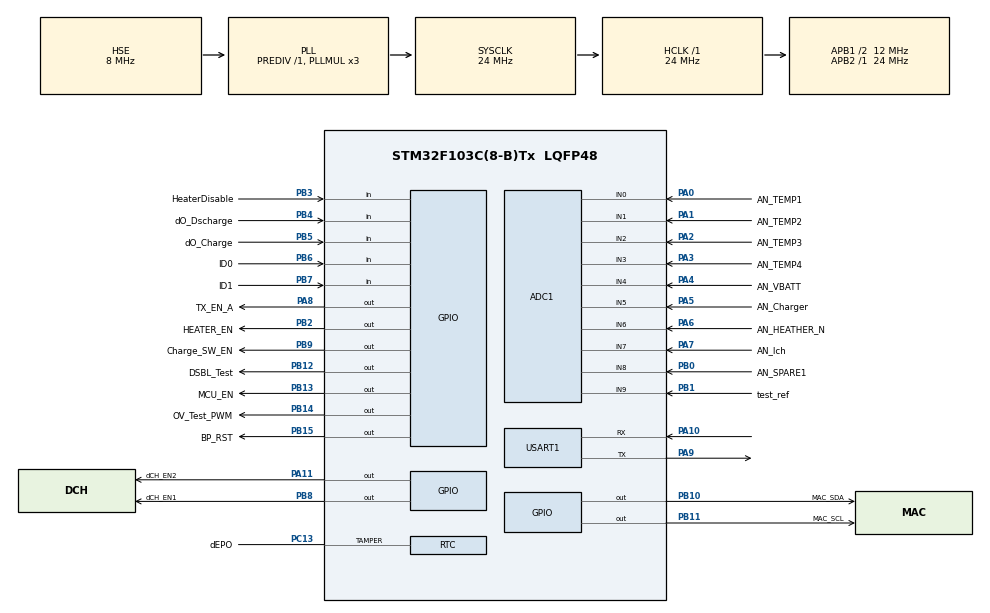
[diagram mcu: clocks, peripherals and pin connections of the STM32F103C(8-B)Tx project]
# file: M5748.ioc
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ADC1.Channel-0\#ChannelRegularConversion=ADC_CHANNEL_0
ADC1.NbrOfConversionFlag=1
ADC1.Rank-0\#ChannelRegularConversion=1
ADC1.SamplingTime-0\#ChannelRegularConversion=ADC_SAMPLETIME_1CYCLE_5
ADC1.master=1
Dma.Request0=USART1_RX
Dma.Request1=USART1_TX
Dma.USART1_RX.0.Direction=DMA_PERIPH_TO_MEMORY
Dma.USART1_RX.0.Instance=DMA1_Channel5
Dma.USART1_RX.0.MemDataAlignment=DMA_MDATAALIGN_BYTE
Dma.USART1_RX.0.MemInc=DMA_MINC_ENABLE
Dma.USART1_RX.0.Mode=DMA_CIRCULAR
Dma.USART1_RX.0.PeriphDataAlignment=DMA_PDATAALIGN_BYTE
Dma.USART1_RX.0.PeriphInc=DMA_PINC_DISABLE
Dma.USART1_RX.0.Priority=DMA_PRIORITY_LOW
Dma.USART1_TX.1.Direction=DMA_MEMORY_TO_PERIPH
Dma.USART1_TX.1.Instance=DMA1_Channel4
Dma.USART1_TX.1.MemDataAlignment=DMA_MDATAALIGN_BYTE
Dma.USART1_TX.1.MemInc=DMA_MINC_ENABLE
Dma.USART1_TX.1.Mode=DMA_NORMAL
Dma.USART1_TX.1.PeriphDataAlignment=DMA_PDATAALIGN_BYTE
Dma.USART1_TX.1.PeriphInc=DMA_PINC_DISABLE
Dma.USART1_TX.1.Priority=DMA_PRIORITY_LOW
Mcu.Family=STM32F1
Mcu.Name=STM32F103C(8-B)Tx
Mcu.Package=LQFP48
NVIC.DMA1_Channel4_IRQn=true\:0\:0\:false\:false\:true\:false\:true\:true
NVIC.DMA1_Channel5_IRQn=true\:0\:0\:false\:false\:true\:false\:true\:true
NVIC.PriorityGroup=NVIC_PRIORITYGROUP_4
NVIC.USART1_IRQn=true\:0\:0\:false\:false\:true\:false\:true\:true
PA0-WKUP.GPIO_Label=AN_TEMP1
PA0-WKUP.Signal=ADCx_IN0
PA1.GPIO_Label=AN_TEMP2
PA1.Signal=ADCx_IN1
PA10.Mode=Asynchronous
PA10.Signal=USART1_RX
PA11.GPIO_Label=dCH_EN2
PA11.GPIO_PuPd=GPIO_PULLUP
PA11.Signal=GPIO_Output
PA13.Mode=Serial_Wire
PA13.Signal=SYS_JTMS-SWDIO
PA14.Mode=Serial_Wire
PA14.Signal=SYS_JTCK-SWCLK
PA2.GPIO_Label=AN_TEMP3
PA2.Signal=ADCx_IN2
PA3.GPIO_Label=AN_TEMP4
PA3.Signal=ADCx_IN3
PA4.GPIO_Label=AN_VBATT
PA4.Signal=ADCx_IN4
PA5.GPIO_Label=AN_Charger
PA5.Signal=ADCx_IN5
PA6.GPIO_Label=AN_HEATHER_N
PA6.Signal=ADCx_IN6
PA7.GPIO_Label=AN_Ich
PA7.Signal=ADCx_IN7
PA8.GPIO_Label=TX_EN_A
PA8.Signal=GPIO_Output
PA9.Mode=Asynchronous
PA9.Signal=USART1_TX
PB0.GPIO_Label=AN_SPARE1
PB0.Signal=ADCx_IN8
PB1.GPIO_Label=test_ref
PB1.Signal=ADCx_IN9
PB10.GPIO_Label=MAC_SDA
PB10.GPIO_ModeDefaultOutputPP=GPIO_MODE_OUTPUT_OD
PB10.GPIO_PuPd=GPIO_NOPULL
PB10.Signal=GPIO_Output
PB11.GPIO_Label=MAC_SCL
PB11.Signal=GPIO_Output
PB12.GPIO_Label=DSBL_Test
PB12.Signal=GPIO_Output
PB13.GPIO_Label=MCU_EN
PB13.Signal=GPIO_Output
PB14.GPIO_Label=OV_Test_PWM
PB14.Signal=GPIO_Output
PB15.GPIO_Label=BP_RST
PB15.GPIO_ModeDefaultOutputPP=GPIO_MODE_OUTPUT_OD
PB15.GPIO_PuPd=GPIO_NOPULL
PB15.PinState=GPIO_PIN_SET
PB15.Signal=GPIO_Output
PB2.GPIO_Label=HEATER_EN
PB2.Signal=GPIO_Output
PB3.GPIO_Label=HeaterDisable
PB3.GPIO_PuPd=GPIO_PULLUP
PB3.Signal=GPIO_Input
PB4.GPIO_Label=dO_Dscharge
PB4.GPIO_PuPd=GPIO_PULLUP
PB4.Signal=GPIO_Input
PB5.GPIO_Label=dO_Charge
PB5.GPIO_PuPd=GPIO_PULLUP
PB5.Signal=GPIO_Input
PB6.GPIO_Label=ID0
PB6.GPIO_PuPd=GPIO_NOPULL
PB6.Signal=GPIO_Input
PB7.GPIO_Label=ID1
PB7.GPIO_PuPd=GPIO_NOPULL
PB7.Signal=GPIO_Input
PB8.GPIO_Label=dCH_EN1
PB8.Signal=GPIO_Output
PB9.GPIO_Label=Charge_SW_EN
PB9.Signal=GPIO_Output
PC13-TAMPER-RTC.GPIO_Label=dEPO
PC13-TAMPER-RTC.Mode=Tamper
PC13-TAMPER-RTC.Signal=RTC_TAMPER
PC14-OSC32_IN.GPIO_Label=dBattleMode
PC14-OSC32_IN.Mode=LSE-External-Clock-Source
PC14-OSC32_IN.Signal=RCC_OSC32_IN
PC15-OSC32_OUT.GPIO_Label=DSBL_FB
PC15-OSC32_OUT.Mode=LSE-External-Clock-Source
PC15-OSC32_OUT.Signal=RCC_OSC32_OUT
PD0-OSC_IN.Mode=HSE-External-Clock-Source
PD0-OSC_IN.Signal=RCC_OSC_IN
PD1-OSC_OUT.Mode=HSE-External-Clock-Source
PD1-OSC_OUT.Signal=RCC_OSC_OUT
ProjectManager.HeapSize=0x200
ProjectManager.StackSize=0x400
ProjectManager.TargetToolchain=STM32CubeIDE
RCC.ADCPresc=RCC_ADCPCLK2_DIV6
RCC.AHBFreq_Value=24000000
RCC.APB1CLKDivider=RCC_HCLK_DIV2
RCC.APB1Freq_Value=12000000
RCC.APB1TimFreq_Value=24000000
RCC.APB2Freq_Value=24000000
RCC.APB2TimFreq_Value=24000000
RCC.HCLKFreq_Value=24000000
RCC.PLLMUL=RCC_PLL_MUL3
RCC.PLLSourceVirtual=RCC_PLLSOURCE_HSE
RCC.SYSCLKFreq_VALUE=24000000
RCC.SYSCLKSource=RCC_SYSCLKSOURCE_PLLCLK
RCC.USBFreq_Value=24000000
SH.ADCx_IN0.0=ADC1_IN0,IN0
SH.ADCx_IN1.0=ADC1_IN1,IN1
SH.ADCx_IN2.0=ADC1_IN2,IN2
SH.ADCx_IN3.0=ADC1_IN3,IN3
SH.ADCx_IN4.0=ADC1_IN4,IN4
SH.ADCx_IN5.0=ADC1_IN5,IN5
SH.ADCx_IN6.0=ADC1_IN6,IN6
SH.ADCx_IN7.0=ADC1_IN7,IN7
SH.ADCx_IN8.0=ADC1_IN8,IN8
SH.ADCx_IN9.0=ADC1_IN9,IN9
TIM4.Period=4974
TIM4.Prescaler=24
USART1.VirtualMode=VM_ASYNC
VP_RTC_No_RTC_Output.Mode=RTC_OUT_NO
VP_RTC_VS_RTC_Activate.Mode=RTC_Enabled
VP_TIM4_VS_ClockSourceINT.Mode=Internal
board=custom

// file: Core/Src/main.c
/* USER CODE BEGIN Header */
/**
  ******************************************************************************
  * @file           : main.c
  * @brief          : Main program body
  ******************************************************************************
  * @attention
  *
  * Copyright (c) 2025 STMicroelectronics.
  * All rights reserved.
  *
  * This software is licensed under terms that can be found in the LICENSE file
  * in the root directory of this software component.
  * If no LICENSE file comes with this software, it is provided AS-IS.
  *
  ******************************************************************************
  */
/* USER CODE END Header */
#include "main.h"

/* USER CODE BEGIN Includes */
#include "general.h"
#include "RowIO.h"
#include "IO.h"
#include "IntUart.h"
#include "Mgmt.h"
#include "IntUartDataLink.h"
#include "IntComm.h"
#include "flash_if.h"
/* USER CODE END Includes */

ADC_HandleTypeDef hadc1;

RTC_HandleTypeDef hrtc;

TIM_HandleTypeDef htim4;

UART_HandleTypeDef huart1;
DMA_HandleTypeDef hdma_usart1_rx;
DMA_HandleTypeDef hdma_usart1_tx;

void SystemClock_Config(void);
static void MX_GPIO_Init(void);
static void MX_DMA_Init(void);
static void MX_ADC1_Init(void);
static void MX_USART1_UART_Init(void);
static void MX_TIM4_Init(void);
static void MX_RTC_Init(void);

int main(void)
{

  /* MCU Configuration--------------------------------------------------------*/

  /* Reset of all peripherals, Initializes the Flash interface and the Systick. */
  HAL_Init();

  /* Configure the system clock */
  SystemClock_Config();

  /* Initialize all configured peripherals */
  MX_GPIO_Init();
  MX_DMA_Init();
  MX_ADC1_Init();
  MX_USART1_UART_Init();
  MX_TIM4_Init();
  MX_RTC_Init();
  /* USER CODE BEGIN 2 */
  HAL_TIM_Base_Start(&htim4);
  uart_Enable(0);
  initInputs();
  mgmtInit();
  HAL_Delay(100); // for MCU_EN DBG
  uint8_t data = 5;
  uint8_t rx = 0;

  /* USER CODE END 2 */

  /* Infinite loop */
  /* USER CODE BEGIN WHILE */
  while (1)
  {
    if (__HAL_TIM_GET_FLAG(&htim4, TIM_FLAG_UPDATE))
    {
      __HAL_TIM_CLEAR_FLAG(&htim4, TIM_FLAG_UPDATE);
      //TP_LED1(b100mS_gate);
      updateTimingVar();
      readDigitalInputs();
      readAnalogInputs();
      debounceDigitalInputs();
      filterAnalogInputs();

      intUart_Handle();
      Command_Handler(); //check if a new telemetry received and decode it
      Telemetry_Handler();
      managment();
      //outputsUpate();

      writeDigitalOutputs();
    }
    intUart_Handle();
    /* USER CODE END WHILE */

  }
}

void SystemClock_Config(void)
{
  RCC_OscInitTypeDef RCC_OscInitStruct = {0};
  RCC_ClkInitTypeDef RCC_ClkInitStruct = {0};
  RCC_PeriphCLKInitTypeDef PeriphClkInit = {0};

  /** Initializes the RCC Oscillators according to the specified parameters
  * in the RCC_OscInitTypeDef structure.
  */
  RCC_OscInitStruct.OscillatorType = RCC_OSCILLATORTYPE_LSI|RCC_OSCILLATORTYPE_HSE;
  RCC_OscInitStruct.HSEState = RCC_HSE_BYPASS;
  RCC_OscInitStruct.HSEPredivValue = RCC_HSE_PREDIV_DIV1;
  RCC_OscInitStruct.HSIState = RCC_HSI_ON;
  RCC_OscInitStruct.LSIState = RCC_LSI_ON;
  RCC_OscInitStruct.PLL.PLLState = RCC_PLL_ON;
  RCC_OscInitStruct.PLL.PLLSource = RCC_PLLSOURCE_HSE;
  RCC_OscInitStruct.PLL.PLLMUL = RCC_PLL_MUL3;
  if (HAL_RCC_OscConfig(&RCC_OscInitStruct) != HAL_OK)
  {
    Error_Handler();
  }

  /** Initializes the CPU, AHB and APB buses clocks
  */
  RCC_ClkInitStruct.ClockType = RCC_CLOCKTYPE_HCLK|RCC_CLOCKTYPE_SYSCLK
                              |RCC_CLOCKTYPE_PCLK1|RCC_CLOCKTYPE_PCLK2;
  RCC_ClkInitStruct.SYSCLKSource = RCC_SYSCLKSOURCE_PLLCLK;
  RCC_ClkInitStruct.AHBCLKDivider = RCC_SYSCLK_DIV1;
  RCC_ClkInitStruct.APB1CLKDivider = RCC_HCLK_DIV2;
  RCC_ClkInitStruct.APB2CLKDivider = RCC_HCLK_DIV1;

  if (HAL_RCC_ClockConfig(&RCC_ClkInitStruct, FLASH_LATENCY_0) != HAL_OK)
  {
    Error_Handler();
  }
  PeriphClkInit.PeriphClockSelection = RCC_PERIPHCLK_RTC|RCC_PERIPHCLK_ADC;
  PeriphClkInit.RTCClockSelection = RCC_RTCCLKSOURCE_LSI;
  PeriphClkInit.AdcClockSelection = RCC_ADCPCLK2_DIV6;
  if (HAL_RCCEx_PeriphCLKConfig(&PeriphClkInit) != HAL_OK)
  {
    Error_Handler();
  }
}

static void MX_ADC1_Init(void)
{

  ADC_ChannelConfTypeDef sConfig = {0};

  /** Common config
  */
  hadc1.Instance = ADC1;
  hadc1.Init.ScanConvMode = ADC_SCAN_DISABLE;
  hadc1.Init.ContinuousConvMode = DISABLE;
  hadc1.Init.DiscontinuousConvMode = DISABLE;
  hadc1.Init.ExternalTrigConv = ADC_SOFTWARE_START;
  hadc1.Init.DataAlign = ADC_DATAALIGN_RIGHT;
  hadc1.Init.NbrOfConversion = 1;
  if (HAL_ADC_Init(&hadc1) != HAL_OK)
  {
    Error_Handler();
  }

  /** Configure Regular Channel
  */
  sConfig.Channel = ADC_CHANNEL_0;
  sConfig.Rank = ADC_REGULAR_RANK_1;
  sConfig.SamplingTime = ADC_SAMPLETIME_1CYCLE_5;
  if (HAL_ADC_ConfigChannel(&hadc1, &sConfig) != HAL_OK)
  {
    Error_Handler();
  }
  /* USER CODE BEGIN ADC1_Init 2 */
 HAL_ADCEx_Calibration_Start(&hadc1);
  /* USER CODE END ADC1_Init 2 */

}

static void MX_RTC_Init(void)
{

  RTC_TimeTypeDef sTime = {0};
  RTC_DateTypeDef DateToUpdate = {0};
  RTC_TamperTypeDef sTamper = {0};

  /** Initialize RTC Only
  */
  hrtc.Instance = RTC;
  hrtc.Init.AsynchPrediv = RTC_AUTO_1_SECOND;
  hrtc.Init.OutPut = RTC_OUTPUTSOURCE_NONE;
  if (HAL_RTC_Init(&hrtc) != HAL_OK)
  {
    Error_Handler();
  }

  /** Initialize RTC and set the Time and Date
  */
  sTime.Hours = 0x0;
  sTime.Minutes = 0x0;
  sTime.Seconds = 0x0;

  if (HAL_RTC_SetTime(&hrtc, &sTime, RTC_FORMAT_BCD) != HAL_OK)
  {
    Error_Handler();
  }
  DateToUpdate.WeekDay = RTC_WEEKDAY_MONDAY;
  DateToUpdate.Month = RTC_MONTH_JANUARY;
  DateToUpdate.Date = 0x1;
  DateToUpdate.Year = 0x0;

  if (HAL_RTC_SetDate(&hrtc, &DateToUpdate, RTC_FORMAT_BCD) != HAL_OK)
  {
    Error_Handler();
  }

  /** Enable the RTC Tamper
  */
  sTamper.Tamper = RTC_TAMPER_1;
  sTamper.Trigger = RTC_TAMPERTRIGGER_LOWLEVEL;
  if (HAL_RTCEx_SetTamper(&hrtc, &sTamper) != HAL_OK)
  {
    Error_Handler();
  }

}

static void MX_TIM4_Init(void)
{

  TIM_ClockConfigTypeDef sClockSourceConfig = {0};
  TIM_MasterConfigTypeDef sMasterConfig = {0};

  htim4.Instance = TIM4;
  htim4.Init.Prescaler = 24;
  htim4.Init.CounterMode = TIM_COUNTERMODE_UP;
  htim4.Init.Period = 4974;
  htim4.Init.ClockDivision = TIM_CLOCKDIVISION_DIV1;
  htim4.Init.AutoReloadPreload = TIM_AUTORELOAD_PRELOAD_DISABLE;
  if (HAL_TIM_Base_Init(&htim4) != HAL_OK)
  {
    Error_Handler();
  }
  sClockSourceConfig.ClockSource = TIM_CLOCKSOURCE_INTERNAL;
  if (HAL_TIM_ConfigClockSource(&htim4, &sClockSourceConfig) != HAL_OK)
  {
    Error_Handler();
  }
  sMasterConfig.MasterOutputTrigger = TIM_TRGO_RESET;
  sMasterConfig.MasterSlaveMode = TIM_MASTERSLAVEMODE_DISABLE;
  if (HAL_TIMEx_MasterConfigSynchronization(&htim4, &sMasterConfig) != HAL_OK)
  {
    Error_Handler();
  }

}

static void MX_USART1_UART_Init(void)
{

  huart1.Instance = USART1;
  huart1.Init.BaudRate = 115200;
  huart1.Init.WordLength = UART_WORDLENGTH_8B;
  huart1.Init.StopBits = UART_STOPBITS_1;
  huart1.Init.Parity = UART_PARITY_NONE;
  huart1.Init.Mode = UART_MODE_TX_RX;
  huart1.Init.HwFlowCtl = UART_HWCONTROL_NONE;
  huart1.Init.OverSampling = UART_OVERSAMPLING_16;
  if (HAL_UART_Init(&huart1) != HAL_OK)
  {
    Error_Handler();
  }

}

static void MX_DMA_Init(void)
{

  /* DMA controller clock enable */
  __HAL_RCC_DMA1_CLK_ENABLE();

  /* DMA interrupt init */
  /* DMA1_Channel4_IRQn interrupt configuration */
  HAL_NVIC_SetPriority(DMA1_Channel4_IRQn, 0, 0);
  HAL_NVIC_EnableIRQ(DMA1_Channel4_IRQn);
  /* DMA1_Channel5_IRQn interrupt configuration */
  HAL_NVIC_SetPriority(DMA1_Channel5_IRQn, 0, 0);
  HAL_NVIC_EnableIRQ(DMA1_Channel5_IRQn);

}

static void MX_GPIO_Init(void)
{
  GPIO_InitTypeDef GPIO_InitStruct = {0};

  /* GPIO Ports Clock Enable */
  __HAL_RCC_GPIOC_CLK_ENABLE();
  __HAL_RCC_GPIOD_CLK_ENABLE();
  __HAL_RCC_GPIOA_CLK_ENABLE();
  __HAL_RCC_GPIOB_CLK_ENABLE();

  /*Configure GPIO pin Output Level */
  HAL_GPIO_WritePin(GPIOB, HEATER_EN_Pin|MAC_SDA_Pin|MAC_SCL_Pin|DSBL_Test_Pin
                          |MCU_EN_Pin|OV_Test_PWM_Pin|dCH_EN1_Pin|Charge_SW_EN_Pin, GPIO_PIN_RESET);

  /*Configure GPIO pin Output Level */
  HAL_GPIO_WritePin(BP_RST_GPIO_Port, BP_RST_Pin, GPIO_PIN_SET);

  /*Configure GPIO pin Output Level */
  HAL_GPIO_WritePin(GPIOA, TX_EN_A_Pin|dCH_EN2_Pin, GPIO_PIN_RESET);

  /*Configure GPIO pins : HEATER_EN_Pin MAC_SCL_Pin DSBL_Test_Pin MCU_EN_Pin
                           OV_Test_PWM_Pin dCH_EN1_Pin Charge_SW_EN_Pin */
  GPIO_InitStruct.Pin = HEATER_EN_Pin|MAC_SCL_Pin|DSBL_Test_Pin|MCU_EN_Pin
                          |OV_Test_PWM_Pin|dCH_EN1_Pin|Charge_SW_EN_Pin;
  GPIO_InitStruct.Mode = GPIO_MODE_OUTPUT_PP;
  GPIO_InitStruct.Pull = GPIO_NOPULL;
  GPIO_InitStruct.Speed = GPIO_SPEED_FREQ_LOW;
  HAL_GPIO_Init(GPIOB, &GPIO_InitStruct);

  /*Configure GPIO pins : MAC_SDA_Pin BP_RST_Pin */
  GPIO_InitStruct.Pin = MAC_SDA_Pin|BP_RST_Pin;
  GPIO_InitStruct.Mode = GPIO_MODE_OUTPUT_OD;
  GPIO_InitStruct.Pull = GPIO_NOPULL;
  GPIO_InitStruct.Speed = GPIO_SPEED_FREQ_LOW;
  HAL_GPIO_Init(GPIOB, &GPIO_InitStruct);

  /*Configure GPIO pin : TX_EN_A_Pin */
  GPIO_InitStruct.Pin = TX_EN_A_Pin;
  GPIO_InitStruct.Mode = GPIO_MODE_OUTPUT_PP;
  GPIO_InitStruct.Pull = GPIO_NOPULL;
  GPIO_InitStruct.Speed = GPIO_SPEED_FREQ_LOW;
  HAL_GPIO_Init(TX_EN_A_GPIO_Port, &GPIO_InitStruct);

  /*Configure GPIO pin : dCH_EN2_Pin */
  GPIO_InitStruct.Pin = dCH_EN2_Pin;
  GPIO_InitStruct.Mode = GPIO_MODE_OUTPUT_PP;
  GPIO_InitStruct.Pull = GPIO_PULLUP;
  GPIO_InitStruct.Speed = GPIO_SPEED_FREQ_LOW;
  HAL_GPIO_Init(dCH_EN2_GPIO_Port, &GPIO_InitStruct);

  /*Configure GPIO pins : HeaterDisable_Pin dO_Dscharge_Pin dO_Charge_Pin */
  GPIO_InitStruct.Pin = HeaterDisable_Pin|dO_Dscharge_Pin|dO_Charge_Pin;
  GPIO_InitStruct.Mode = GPIO_MODE_INPUT;
  GPIO_InitStruct.Pull = GPIO_PULLUP;
  HAL_GPIO_Init(GPIOB, &GPIO_InitStruct);

  /*Configure GPIO pins : ID0_Pin ID1_Pin */
  GPIO_InitStruct.Pin = ID0_Pin|ID1_Pin;
  GPIO_InitStruct.Mode = GPIO_MODE_INPUT;
  GPIO_InitStruct.Pull = GPIO_NOPULL;
  HAL_GPIO_Init(GPIOB, &GPIO_InitStruct);

}

void Error_Handler(void)
{
  __disable_irq();
  while (1)
  {
  }
}
